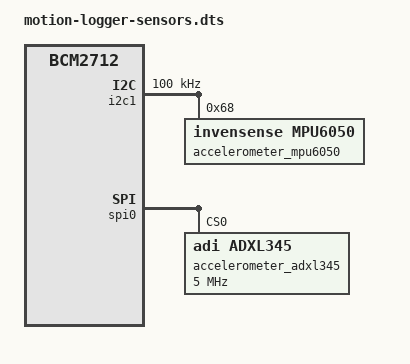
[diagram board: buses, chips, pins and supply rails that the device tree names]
/*
 * Overlay Motion Logger: описує датчики на платі для драйверів ядра (IIO).
 *   - I2C1 (GPIO2/3): MPU6050 з модуля GY-87 за адресою 0x68;
 *   - SPI0, CE0 (GPIO8): ADXL345 з модуля GY-291.
 * Збирається post-image.sh (dtc -@) у overlays/motion-logger-sensors.dtbo, вмикається рядком
 * dtoverlay=motion-logger-sensors у config.txt. Мітки i2c1, spi0, spidev0 беруться з __symbols__
 * базового bcm2712d0-rpi-5-b.dtb.
 */
/dts-v1/;
/plugin/;

/ {
	compatible = "brcm,bcm2712";

	/* MPU6050 на I2C1. Починаємо зі 100 кГц (безпечний старт), 400 кГц лише після перевірки. */
	fragment@0 {
		target = <&i2c1>;
		__overlay__ {
			status = "okay";
			clock-frequency = <100000>;
			#address-cells = <1>;
			#size-cells = <0>;

			accelerometer_mpu6050: imu@68 {
				compatible = "invensense,mpu6050";
				reg = <0x68>;
			};
		};
	};

	/*
	 * ADXL345 на SPI0, CE0. Режим SPI 3 (CPOL=1, CPHA=1): так модуль відповів у кроці 1.4.
	 * Лінія INT1 не підключена, тому interrupts не задаємо: драйвер працюватиме лише з raw-читанням.
	 */
	fragment@1 {
		target = <&spi0>;
		__overlay__ {
			status = "okay";
			#address-cells = <1>;
			#size-cells = <0>;

			accelerometer_adxl345: accelerometer@0 {
				compatible = "adi,adxl345";
				reg = <0>;
				spi-max-frequency = <5000000>;
				spi-cpol;
				spi-cpha;
			};
		};
	};

	/* Базове дерево вже має spidev на CE0; на одному CS не може бути двох власників. */
	fragment@2 {
		target = <&spidev0>;
		__overlay__ {
			status = "disabled";
		};
	};
};
